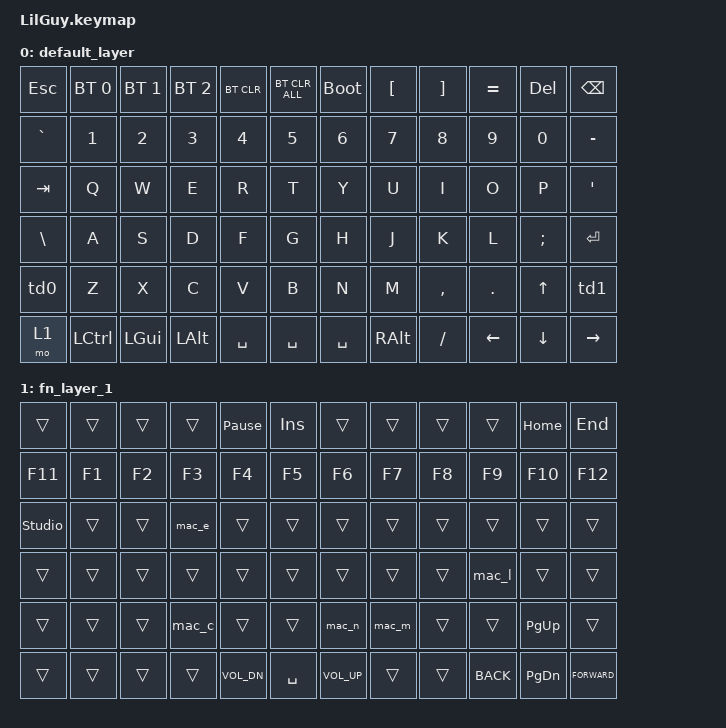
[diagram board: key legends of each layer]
#include <behaviors.dtsi>
#include <dt-bindings/zmk/bt.h>
#include <dt-bindings/zmk/keys.h>
#include <dt-bindings/zmk/pointing.h>

/ {
    
    behaviors {
        td0: tap_dance_0 {
            compatible = "zmk,behavior-tap-dance";
            #binding-cells = <0>;
            tapping-term-ms = <300>;
            bindings = <&kp LSHIFT>, <&kp LSHIFT>, <&kp CAPS>;
        };    
        td1: tap_dance_1 {
            compatible = "zmk,behavior-tap-dance";
            #binding-cells = <0>;
            tapping-term-ms = <300>;
            bindings = <&kp RSHIFT>, <&kp RSHIFT>, <&kp CAPS>;
        };
    };
    macros {
        mac_c: mac_c {
            compatible = "zmk,behavior-macro";
            #binding-cells = <0>;
            bindings = <&macro_tap>, <&kp N1 &kp N2 &kp N2 &kp N5 &kp ENTER>;
            label = "MAC_C";
        };

        mac_n: mac_n {
            compatible = "zmk,behavior-macro";
            #binding-cells = <0>;
            bindings =
                <&macro_tap>,
                <&kp W>,
                <&macro_press>,
                <&kp LSHIFT>,
                <&macro_tap>,
                <&kp H>,
                <&macro_release>,
                <&kp LSHIFT>,
                <&macro_tap>,
                <&kp A &kp L &kp E &kp DOLLAR &kp N1 &kp N9 &kp N8 &kp N4>;
            label = "MAC_N"; 
        };

        mac_m: mac_m {
            compatible = "zmk,behavior-macro";
            #binding-cells = <0>;
            bindings =
                <&macro_press>,
                <&kp LEFT_SHIFT>,
                <&macro_tap>,
                <&kp M>,
                <&macro_release>,
                <&kp LEFT_SHIFT>,
                <&macro_tap>,
                <&kp A &kp R &kp K &kp U &kp S &kp POUND &kp N1 &kp N2 &kp N2 &kp N5 &kp ENTER>;
            label = "MAC_M";
        };

        mac_l: mac_l {
            compatible = "zmk,behavior-macro";
            #binding-cells = <0>;
            bindings =
                <&macro_press>,
                <&kp LEFT_SHIFT>,
                <&macro_tap>,
                <&kp M>,
                <&macro_release>,
                <&kp LEFT_SHIFT>,
                <&macro_tap>,
                <&kp A &kp R &kp K &kp U &kp S &kp POUND &kp NUMBER_1 &kp N2 &kp N2 &kp N5 &kp N6 &kp N3 &kp N7 &kp N8 &kp ENTER>;
            label = "MAC_L";
        };

        mac_e: mac_e {
            compatible = "zmk,behavior-macro";
            #binding-cells = <0>;
            bindings = <&kp K &kp N &kp B &kp D &kp I &kp X &kp O &kp N &kp AT &kp G &kp M &kp A &kp I &kp L &kp DOT &kp C &kp O &kp M>;
            label = "MAC_E";
        };
    };


    keymap {
        compatible = "zmk,keymap";

        default_layer {
            bindings = <
&kp ESC    &bt BT_SEL 0  &bt BT_SEL 1   &bt BT_SEL 2    &bt BT_CLR  &bt BT_CLR_ALL &bootloader  &kp LBKT    &kp RBKT     &kp EQUAL  &kp DEL  &kp BACKSPACE
&kp GRAVE  &kp N1    	 &kp N2         &kp N3    	&kp N4      &kp N5         &kp N6       &kp N7      &kp N8       &kp N9     &kp N0   &kp MINUS
&kp TAB    &kp Q    	 &kp W          &kp E  		&kp R       &kp T          &kp Y        &kp U       &kp I        &kp O      &kp P    &kp SQT 
&kp BSLH   &kp A    	 &kp S          &kp D  		&kp F       &kp G          &kp H        &kp J       &kp K        &kp L      &kp SEMI &kp ENTER
&td0       &kp Z  	     &kp X          &kp C  		&kp V       &kp B          &kp N        &kp M       &kp COMMA    &kp PERIOD &kp UP   &td1
&mo 1      &kp LCTRL  	 &kp LGUI       &kp LALT 	&kp SPACE   &kp SPACE      &kp SPACE    &kp RALT    &kp SLASH    &kp LEFT   &kp DOWN &kp RIGHT   
            >;
        };


        fn_layer_1 {
            bindings = <
&trans     &trans        &trans         &trans      &kp PAUSE_BREAK &kp INS        &trans       &trans      &trans       &trans     &kp HOME  &kp END
&kp F11    &kp F1    	 &kp F2         &kp F3    	&kp F4          &kp F5         &kp F6       &kp F7      &kp F8       &kp F9     &kp F10   &kp F12
&studio_unlock  &trans   &trans         &mac_e   	&trans          &trans         &trans       &trans      &trans       &trans     &trans    &trans  
&trans     &trans    	 &trans         &trans   	&trans          &trans         &trans       &trans      &trans       &mac_l     &trans    &trans  
&trans     &trans    	 &trans         &mac_c   	&trans          &trans         &mac_n       &mac_m      &trans       &trans     &kp PG_UP &trans  
&trans     &trans 	     &trans         &trans  	&kp C_VOL_DN    &kp SPACE      &kp C_VOL_UP &trans      &trans       &kp K_BACK &kp PG_DN &kp K_FORWARD   
            >;
        };
        
        extra_layer_2 {
            status = "reserved";
        };
        
        extra_layer_3 {
            status = "reserved";
        };
        
         extra_layer_4 {
            status = "reserved";
        };
    };
};
